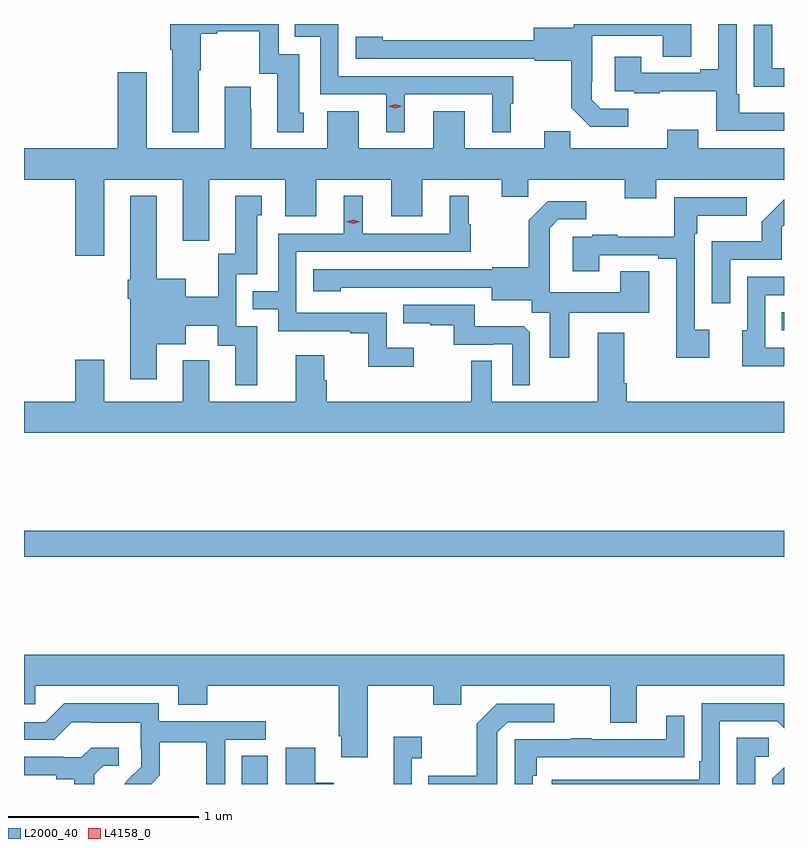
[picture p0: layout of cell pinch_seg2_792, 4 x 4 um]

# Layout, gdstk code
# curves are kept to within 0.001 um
import gdstk
lib = gdstk.Library(unit=1e-6, precision=1e-09)
def R(c, l, rs):  # rectangles x0, y0, x1, y1
    for r in rs: c.add(gdstk.rectangle(r[:2], r[2:], *l))
def P(c, l, *ps):  # polygons
    for p in ps: c.add(gdstk.Polygon(p, *l))
L2000_40 = (2000, 40)
L4158_0 = (4158, 0)

pinch_seg2_792 = lib.new_cell('pinch_seg2_792')
R(pinch_seg2_792, L2000_40, [(684.833,612.487,684.97,612.635), (683.686,613.684,687.686,613.82), (687.673,614.874,687.686,614.97)])
P(pinch_seg2_792, L2000_40, [(684.607,616.243),(684.615,616.243),(684.615,616.436),(684.703,616.436),(684.703,616.448),(684.923,616.448),(684.923,616.224),(685.019,616.224),(685.019,615.918),(685.159,615.918),(685.159,616.02),(685.135,616.02),(685.135,616.329),(685.026,616.329),(685.026,616.487),(684.455,616.487),(684.455,616.352),(684.467,616.352),(684.467,615.917),(684.607,615.917)],
  [(686.866,616.041),(686.721,616.041),(686.674,616.088),(686.674,616.183),(686.676,616.183),(686.676,616.424),(687.047,616.424),(687.047,616.315),(687.199,616.315),(687.199,616.487),(686.58,616.487),(686.58,616.468),(686.369,616.468),(686.369,616.401),(685.575,616.402),(685.575,616.42),(685.431,616.42),(685.431,616.305),(686.373,616.305),(686.373,616.293),(686.565,616.293),(686.565,616.047),(686.665,615.947),(686.866,615.947)],
  [(685.69,616.116),(686.15,616.116),(686.15,615.917),(686.248,615.917),(686.248,616.068),(686.26,616.068),(686.26,616.212),(685.341,616.212),(685.341,616.487),(685.111,616.487),(685.111,616.419),(685.245,616.419),(685.245,616.116),(685.592,616.116),(685.592,615.917),(685.69,615.917)],
  [(687.686,616.021),(687.451,616.021),(687.451,616.117),(687.438,616.117),(687.438,616.487),(687.341,616.487),(687.341,616.249),(687.245,616.249),(687.245,616.23),(686.935,616.23),(686.935,616.315),(686.795,616.315),(686.795,616.134),(686.899,616.134),(686.899,616.122),(687.031,616.122),(687.031,616.133),(687.33,616.133),(687.33,615.924),(687.686,615.924)],
  [(687.686,616.254),(687.624,616.254),(687.624,616.483),(687.528,616.483),(687.528,616.157),(687.686,616.157)],
  [(684.109,615.668),(684.521,615.668),(684.521,615.345),(684.661,615.345),(684.661,615.668),(685.061,615.668),(685.061,615.474),(685.225,615.474),(685.225,615.668),(685.619,615.668),(685.619,615.474),(685.783,615.474),(685.783,615.668),(686.201,615.668),(686.201,615.578),(686.339,615.578),(686.339,615.668),(686.849,615.668),(686.849,615.569),(687.013,615.569),(687.013,615.668),(687.686,615.668),(687.686,615.832),(687.235,615.832),(687.235,615.931),(687.071,615.931),(687.071,615.832),(686.561,615.832),(686.561,615.923),(686.423,615.923),(686.423,615.832),(686.005,615.832),(686.005,616.027),(685.841,616.027),(685.841,615.832),(685.447,615.832),(685.447,616.027),(685.283,616.027),(685.283,615.832),(684.883,615.832),(684.883,616.043),(684.88,616.043),(684.88,616.156),(684.743,616.156),(684.743,615.832),(684.331,615.832),(684.331,616.234),(684.179,616.234),(684.179,615.832),(683.686,615.832),(683.686,615.668),(683.957,615.668),(683.957,615.267),(684.109,615.267)],
  [(685.738,614.782),(685.596,614.782),(685.596,614.967),(685.119,614.967),(685.119,615.288),(686.038,615.288),(686.038,615.432),(686.026,615.432),(686.026,615.583),(685.928,615.583),(685.928,615.384),(685.468,615.384),(685.468,615.583),(685.37,615.583),(685.37,615.384),(685.023,615.384),(685.023,615.081),(684.889,615.081),(684.889,614.985),(685.023,614.985),(685.023,614.871),(685.403,614.871),(685.403,614.859),(685.498,614.859),(685.498,614.684),(685.738,614.684)],
  [(684.913,614.895),(684.804,614.895),(684.804,615.171),(684.913,615.171),(684.913,615.48),(684.937,615.48),(684.937,615.583),(684.797,615.583),(684.797,615.279),(684.708,615.279),(684.708,615.052),(684.538,615.052),(684.538,615.145),(684.385,615.145),(684.385,615.583),(684.245,615.583),(684.245,615.141),(684.233,615.141),(684.233,615.041),(684.245,615.041),(684.245,614.616),(684.385,614.616),(684.385,614.801),(684.538,614.801),(684.538,614.9),(684.707,614.9),(684.707,614.794),(684.797,614.794),(684.797,614.586),(684.913,614.586)],
  [(687.292,614.878),(687.216,614.878),(687.216,615.383),(687.229,615.383),(687.229,615.479),(687.49,615.479),(687.49,615.576),(687.108,615.576),(687.108,615.368),(686.809,615.368),(686.809,615.379),(686.677,615.379),(686.677,615.366),(686.573,615.366),(686.573,615.186),(686.713,615.186),(686.713,615.27),(687.023,615.27),(687.023,615.252),(687.119,615.252),(687.119,614.73),(687.292,614.73)],
  [(687.402,615.246),(687.675,615.246),(687.675,615.417),(687.686,615.428),(687.686,615.564),(687.568,615.446),(687.568,615.343),(687.306,615.343),(687.306,615.018),(687.402,615.018)],
  [(686.557,614.966),(686.977,614.966),(686.977,615.185),(686.825,615.185),(686.825,615.076),(686.454,615.076),(686.454,615.317),(686.452,615.317),(686.452,615.412),(686.499,615.459),(686.644,615.459),(686.644,615.553),(686.443,615.553),(686.343,615.453),(686.343,615.208),(686.151,615.208),(686.151,615.195),(685.209,615.195),(685.209,615.08),(685.353,615.08),(685.353,615.098),(686.147,615.099),(686.147,615.032),(686.358,615.032),(686.358,614.968),(686.453,614.968),(686.453,614.73),(686.557,614.73)],
  [(687.685,614.688),(687.686,614.688),(687.686,614.784),(687.588,614.784),(687.588,615.06),(687.686,615.06),(687.686,615.156),(687.492,615.156),(687.492,614.874),(687.467,614.874),(687.467,614.687),(687.685,614.687)],
  [(686.349,614.865),(686.317,614.897),(686.059,614.897),(686.059,615.009),(685.681,615.009),(685.681,614.912),(685.825,614.912),(685.825,614.901),(685.949,614.901),(685.949,614.799),(686.156,614.799),(686.156,614.802),(686.256,614.802),(686.256,614.585),(686.349,614.585)],
  [(687.686,614.5),(686.858,614.5),(686.858,614.596),(686.845,614.596),(686.845,614.863),(686.705,614.863),(686.705,614.5),(686.148,614.5),(686.148,614.714),(686.04,614.714),(686.04,614.5),(685.28,614.5),(685.28,614.613),(685.267,614.613),(685.267,614.743),(685.115,614.743),(685.115,614.5),(684.661,614.5),(684.661,614.716),(684.521,614.716),(684.521,614.5),(684.109,614.5),(684.109,614.719),(683.957,614.719),(683.957,614.5),(683.686,614.5),(683.686,614.336),(687.686,614.336)],
  [(683.686,612.906),(683.745,612.906),(683.745,613.004),(684.497,613.004),(684.497,612.905),(684.65,612.905),(684.65,613.004),(685.343,613.004),(685.343,612.739),(685.355,612.739),(685.355,612.627),(685.495,612.627),(685.495,613.004),(685.84,613.004),(685.84,612.905),(685.987,612.905),(685.987,613.004),(686.771,613.004),(686.771,612.81),(686.911,612.81),(686.911,613.004),(687.686,613.004),(687.686,613.168),(683.686,613.168)],
  [(684.401,612.533),(684.401,612.708),(684.646,612.708),(684.646,612.487),(684.744,612.487),(684.744,612.72),(684.958,612.72),(684.958,612.816),(684.396,612.816),(684.396,612.913),(683.899,612.913),(683.799,612.813),(683.686,612.813),(683.686,612.72),(683.844,612.72),(683.937,612.813),(684.037,612.813),(684.037,612.809),(684.3,612.809),(684.3,612.675),(684.302,612.675),(684.302,612.578),(684.228,612.504),(684.229,612.503),(684.213,612.487),(684.355,612.487)],
  [(687.348,612.816),(687.651,612.816),(687.686,612.781),(687.686,612.912),(687.252,612.912),(687.252,612.607),(687.239,612.607),(687.239,612.51),(686.463,612.51),(686.463,612.487),(687.348,612.487)],
  [(686.178,612.759),(686.232,612.813),(686.476,612.813),(686.476,612.909),(686.175,612.909),(686.07,612.803),(686.07,612.531),(685.813,612.531),(685.813,612.487),(686.178,612.487)],
  [(686.364,612.53),(686.384,612.53),(686.384,612.627),(687.059,612.627),(687.059,612.628),(687.161,612.628),(687.161,612.847),(687.065,612.847),(687.065,612.723),(686.675,612.723),(686.675,612.728),(686.563,612.728),(686.563,612.723),(686.268,612.723),(686.268,612.487),(686.364,612.487)],
  [(685.728,612.623),(685.78,612.623),(685.78,612.736),(685.632,612.736),(685.632,612.487),(685.728,612.487)],
  [(687.534,612.63),(687.607,612.63),(687.607,612.731),(687.438,612.731),(687.438,612.487),(687.534,612.487)],
  [(684.055,612.535),(684.102,612.582),(684.184,612.582),(684.184,612.679),(684.04,612.679),(683.988,612.627),(683.894,612.627),(683.894,612.63),(683.686,612.63),(683.686,612.534),(683.855,612.534),(683.855,612.512),(683.951,612.512),(683.951,612.487),(684.055,612.487)],
  [(685.315,612.494),(685.219,612.494),(685.219,612.679),(685.064,612.679),(685.064,612.487),(685.315,612.487)],
  [(687.686,612.576),(687.624,612.514),(687.624,612.487),(687.686,612.487)])
P(pinch_seg2_792, L4158_0, [(685.641,616.044),(685.605,616.053),(685.605,616.054),(685.605,616.054),(685.641,616.064),(685.677,616.054),(685.677,616.054),(685.677,616.053)],
  [(685.419,615.436),(685.383,615.447),(685.383,615.447),(685.383,615.447),(685.419,615.456),(685.455,615.446),(685.455,615.445),(685.455,615.445)])

lib.write_gds('pinch_seg2_792.gds')
